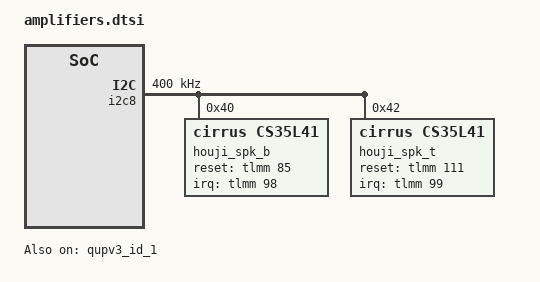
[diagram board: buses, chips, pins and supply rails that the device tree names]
// SPDX-License-Identifier: BSD-3-Clause
/* Addresses, resets, IRQs and boost passives from Xiaomi's Houji tree.
 * VA/VP are not software-controlled in the stock description. Do not invent
 * regulator connections: these rails still require board-level confirmation.
 * Merely probing these devices does not enable their output stages.
 */
&qupv3_id_1 { status = "okay"; };
&gpi_dma2 { status = "okay"; };

&i2c8 {
	#address-cells = <1>;
	#size-cells = <0>;
	status = "okay";
	clock-frequency = <400000>;

	houji_spk_b: amplifier@40 {
		compatible = "cirrus,cs35l41";
		reg = <0x40>;
		#sound-dai-cells = <1>;
		sound-name-prefix = "B";
		cirrus,subsystem-id = "xiaomi-houji";
		reset-gpios = <&tlmm 85 GPIO_ACTIVE_HIGH>;
		interrupt-parent = <&tlmm>;
		interrupts = <98 IRQ_TYPE_LEVEL_LOW>;
		pinctrl-names = "default";
		pinctrl-0 = <&houji_spk_b_reset &houji_spk_b_irq>;
		cirrus,boost-type = <0>;
		cirrus,boost-peak-milliamp = <4000>;
		cirrus,boost-ind-nanohenry = <1000>;
		cirrus,boost-cap-microfarad = <15>;
		cirrus,asp-sdout-hiz = <3>;
		cirrus,gpio2-output-enable;
		cirrus,gpio2-src-select = <4>;
	};

	houji_spk_t: amplifier@42 {
		compatible = "cirrus,cs35l41";
		reg = <0x42>;
		#sound-dai-cells = <1>;
		sound-name-prefix = "T";
		cirrus,subsystem-id = "xiaomi-houji";
		reset-gpios = <&tlmm 111 GPIO_ACTIVE_HIGH>;
		interrupt-parent = <&tlmm>;
		interrupts = <99 IRQ_TYPE_LEVEL_LOW>;
		pinctrl-names = "default";
		pinctrl-0 = <&houji_spk_t_reset &houji_spk_t_irq>;
		cirrus,boost-type = <0>;
		cirrus,boost-peak-milliamp = <4000>;
		cirrus,boost-ind-nanohenry = <1000>;
		cirrus,boost-cap-microfarad = <15>;
		cirrus,asp-sdout-hiz = <3>;
		cirrus,gpio2-output-enable;
		cirrus,gpio2-src-select = <4>;
	};
};

&tlmm {
	houji_spk_b_reset: houji-spk-b-reset-state {
		pins = "gpio85";
		function = "gpio";
		drive-strength = <10>;
		bias-disable;
		output-high;
	};
	houji_spk_t_reset: houji-spk-t-reset-state {
		pins = "gpio111";
		function = "gpio";
		drive-strength = <10>;
		bias-disable;
		output-high;
	};
	houji_spk_b_irq: houji-spk-b-irq-state {
		pins = "gpio98";
		function = "gpio";
		drive-strength = <2>;
		bias-pull-up;
		input-enable;
	};
	houji_spk_t_irq: houji-spk-t-irq-state {
		pins = "gpio99";
		function = "gpio";
		drive-strength = <2>;
		bias-pull-up;
		input-enable;
	};
};
